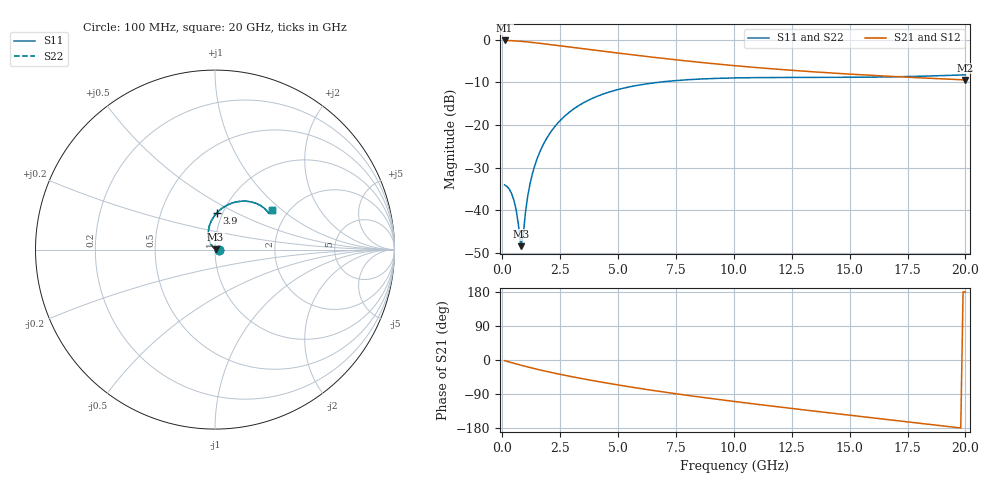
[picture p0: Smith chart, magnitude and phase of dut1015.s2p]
! Touchstone file exported from HFSS 2024.1.0
!  File:  C:/UserFiles/LocalFiles/RDL_TSV_Batchsim/temp_RDL_TSV_1015_1780079872.aedt
!  Generated:  02:54:00 AM May 30, 2026
!  Design:  RDL_TSV
!  Project:  temp_RDL_TSV_1015_1780079872
!  Setup:  Setup1
!  Solution:  Sweep
! Variables:
!  dtsv = 10.74um
!  hbump = 3um
!  htsv = 98.43um
!  ldown = 106.84um
!  lrdl = 441.17um
!  p = 40
!  p1 = 52.46um
!  rhole = 10um
!  subl = 2085.2um
!  t = 450um
!  tdown = 3.03um
!  trdl = 2.78um
!  viad = 10um
!  wdown = 18.99um
!  wrdl = 12.56um
!  xbump = 18um
# GHz S MA R 50.000000
! Terminal data exported
! Port[1] = TM1_1_T1
! Port[2] = TM1_4_T1
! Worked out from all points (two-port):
!   200 points, 100 MHz to 20 GHz, reference 50 ohm
!   highest |S21| = -0.18 dB at 100 MHz (marker M1); lowest = -9.4 dB at 20 GHz (marker M2)
!   |S21| within 3 dB of the highest: start of sweep to 5.069 GHz
!   lowest |S11| = -48.4 dB at 800 MHz (marker M3), VSWR 1.01, Z = 50.3 + j0.246 ohm
!   |S11| at or under -10 dB: start of sweep to 6.719 GHz
!   |S22| runs from -48.5 to -8.2 dB; largest |S21 - S12| = 3.4e-14
!   S11 on the Smith chart (normalised r, x): 100 MHz: 1.04, -0.00; 3.9 GHz: 0.94, +0.40; 20 GHz: 1.66, +0.86
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0.1  0.01988 -0.8  0.9794 -1.8  0.9794 -1.8  0.01988 -0.8
! Gamma 0 0 0 0
! Port Impedance 50 0 50 0
0.3  0.01779 -5.8  0.976 -5.3  0.976 -5.3  0.01772 -6.2
0.5  0.01321 -6.8  0.97 -8.7  0.97 -8.7  0.01319 -7.1
0.6  0.01011 -4.3  0.9661 -10.3  0.9661 -10.3  0.01009 -4.6
0.7  0.006672 4.9  0.9618 -12.0  0.9618 -12.0  0.00665 4.5
0.8  0.003809 40.0  0.957 -13.6  0.957 -13.6  0.003779 39.8
0.9  0.005017 101.7  0.9518 -15.2  0.9518 -15.2  0.005004 101.9
1  0.009452 122.4  0.9463 -16.8  0.9463 -16.8  0.009453 122.5
1.1  0.01481 128.1  0.9405 -18.4  0.9405 -18.4  0.01482 128.2
1.2  0.02065 129.6  0.9345 -19.9  0.9345 -19.9  0.02066 129.7
1.4  0.03333 128.5  0.9217 -22.9  0.9217 -22.9  0.03335 128.5
1.6  0.04698 125.5  0.9085 -25.8  0.9085 -25.8  0.047 125.5
2  0.07595 118.2  0.8812 -31.4  0.8812 -31.4  0.07598 118.2
2.4  0.1056 110.7  0.854 -36.6  0.854 -36.6  0.1057 110.7
3.5  0.1818 92.5  0.7829 -49.8  0.7829 -49.8  0.1818 92.5
3.9  0.2059 86.8  0.7588 -54.3  0.7588 -54.3  0.206 86.8
5.2  0.269 71.6  0.6865 -67.9  0.6865 -67.9  0.269 71.6
6.8  0.3181 58.0  0.6102 -83.0  0.6102 -83.0  0.3181 58.0
10.1  0.3567 41.4  0.4944 -110.1  0.4944 -110.1  0.3567 41.4
13.4  0.3611 34.7  0.4209 -134.3  0.4209 -134.3  0.3609 34.7
16.7  0.3663 33.8  0.3726 -157.6  0.3726 -157.6  0.3661 33.8
20  0.3876 34.8  0.3378 179.2  0.3378 179.2  0.3875 34.8
